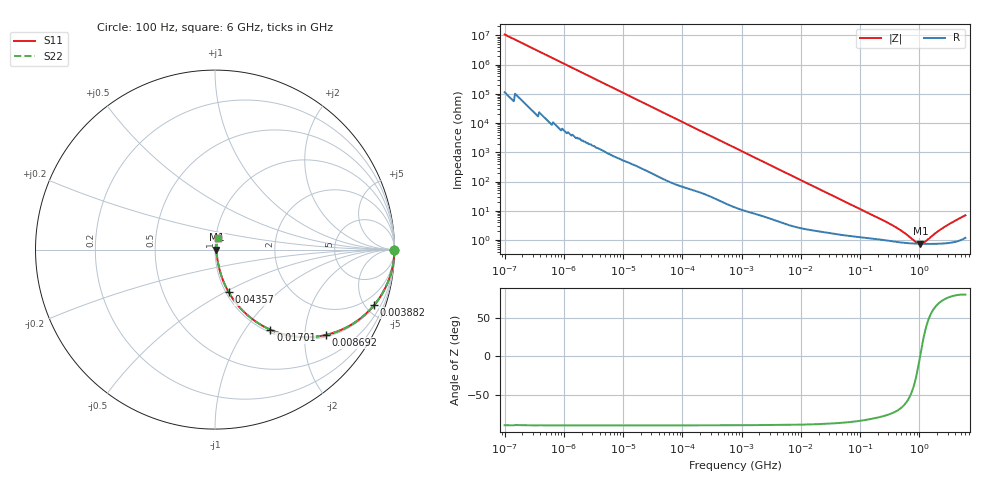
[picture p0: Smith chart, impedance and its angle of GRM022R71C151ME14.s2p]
!Murata Part Number: GRM022R71C151ME14
!These Parameters are Measured in Series Mode Connection
!Data Generated on Mar 30, 2021
!  o--ll--o
!Port1  Port2
!  o------o
!Operation Temp=25[degC], DC Bias Voltage=0[V]
!Freq. Start=100[Hz] Stop=6[GHz] 401[Steps]
# Hz S RI R 50
!Freq.(Hz) S11(Real) S11(Imag) S21(Real) S21(Imag) S12(Real) S12(Imag) S22(Real) S22(Imag)
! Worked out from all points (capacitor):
!   401 points, 100 Hz to 6 GHz, reference 50 ohm
!   read as one part in series: C = 150 pF near 109 Hz
!   lowest |Z| = 748 mohm at 1.047 GHz (marker M1)
!   series resonance near 1.032 GHz, so ESL is about 160 pH
!   S11 on the Smith chart (normalised r, x): 100 Hz: open; 3.882 MHz: 1.09, -5.72; 8.692 MHz: 1.05, -2.57; 17.01 MHz: 1.04, -1.32; 43.57 MHz: 1.03, -0.52; 6 GHz: 1.02, +0.14
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100  1 -9.4e-06  1e-07 9.4e-06  1e-07 9.4e-06  1 -9.4e-06
1026  1 -9.57e-05  5e-07 9.57e-05  5e-07 9.57e-05  1 -9.57e-05
2008  1 -0.000187  9e-07 0.000187  9e-07 0.000187  1 -0.000187
40335  1 -0.00372  3.37e-05 0.00372  3.37e-05 0.00372  1 -0.00372
774597  0.9944 -0.0701  0.00559 0.0701  0.00559 0.0701  0.9944 -0.0701
1813585  0.9718 -0.1595  0.0282 0.1595  0.0282 0.1595  0.9718 -0.1595
3882480  0.8871 -0.3086  0.1129 0.3086  0.1129 0.3086  0.8871 -0.3086
5809218  0.7819 -0.4042  0.2181 0.4042  0.2181 0.4042  0.7819 -0.4042
8692127  0.6201 -0.4749  0.3799 0.4749  0.3799 0.4749  0.6201 -0.4749
1.555665e7  0.3463 -0.4611  0.6537 0.4611  0.6537 0.4611  0.3463 -0.4611
1.701401e7  0.3088 -0.4464  0.6912 0.4464  0.6912 0.4464  0.3088 -0.4464
2.662322e7  0.1627 -0.3483  0.8373 0.3483  0.8373 0.3483  0.1627 -0.3483
4.35672e7  0.0761 -0.237  0.9239 0.237  0.9239 0.237  0.0761 -0.237
1.020051e8  0.0244 -0.1083  0.9756 0.1083  0.9756 0.1083  0.0244 -0.1083
3.124326e8  0.0105 -0.0348  0.9895 0.0348  0.9895 0.0348  0.0105 -0.0348
5.112761e8  0.00848 -0.0181  0.9915 0.0181  0.9915 0.0181  0.00848 -0.0181
8.749838e8  0.00753 -0.004  0.9925 0.004  0.9925 0.004  0.00753 -0.004
1.046602e9  0.00742 0.00034  0.9926 -0.00034  0.9926 -0.00034  0.00742 0.00034
1.251881e9  0.00738 0.00471  0.9926 -0.00471  0.9926 -0.00471  0.00738 0.00471
1.95892e9  0.00769 0.0167  0.9923 -0.0167  0.9923 -0.0167  0.00769 0.0167
2.802721e9  0.00853 0.0286  0.9915 -0.0286  0.9915 -0.0286  0.00853 0.0286
6e9  0.0164 0.0672  0.9836 -0.0672  0.9836 -0.0672  0.0164 0.0672
